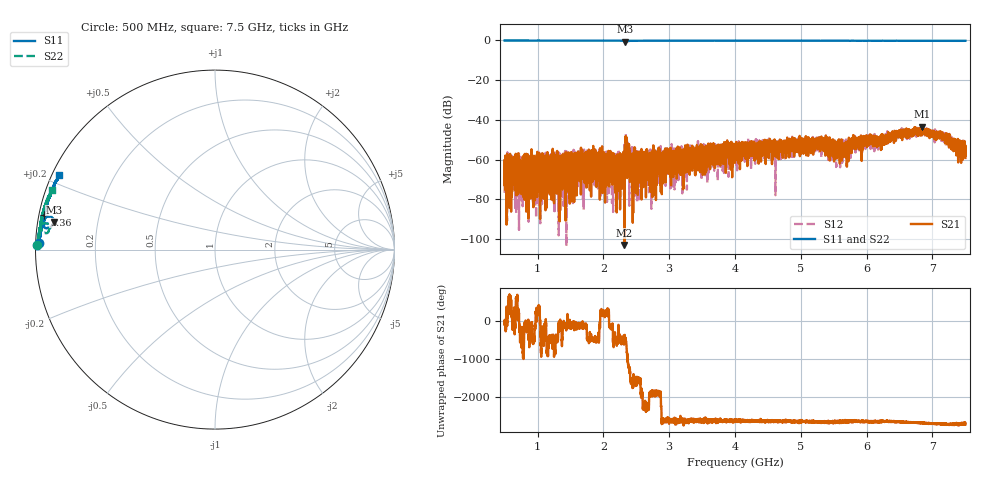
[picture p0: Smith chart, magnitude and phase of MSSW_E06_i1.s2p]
!Keysight Technologies,M9374A,MY55442783,A.12.55.05
!Date: Thursday, May 20, 2021 14:11:18
!Correction: S11(Full 2 Port(1,2))
!S21(Full 2 Port(1,2))
!S12(Full 2 Port(1,2))
!S22(Full 2 Port(1,2))
!S2P File: Measurements: S11, S21, S12, S22:
# Hz S  RI  R 50
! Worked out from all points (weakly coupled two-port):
!   7001 points, 500 MHz to 7.5 GHz, reference 50 ohm
!   highest |S21| = -43.42 dB at 6.837 GHz (marker M1); lowest = -103.0 dB at 2.319 GHz (marker M2)
!   lowest |S11| = -0.8 dB at 2.336 GHz (marker M3), VSWR 21.25, Z = 2.37 + j4.24 ohm
!   |S11| at or under -10 dB: nowhere
!   |S22| runs from -0.7 to -0.1 dB; largest |S21 - S12| = 0.007
!   S11 on the Smith chart (normalised r, x): 500 MHz: 0.01, +0.02; 3.36 GHz: 0.02, +0.10; 7.5 GHz: 0.02, +0.23
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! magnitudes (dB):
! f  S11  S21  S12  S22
! 500 MHz  -0.2  -60.4  -76.8  -0.1
! 574 MHz  -0.2  -67.4  -59.7  -0.1
! 860 MHz  -0.2  -89.6  -60.6  -0.1
! 1.124 GHz  -0.2  -61.4  -63.8  -0.1
! 1.667 GHz  -0.2  -59.7  -61.0  -0.1
! 1.763 GHz  -0.2  -56.9  -60.3  -0.1
! 2.211 GHz  -0.2  -59.3  -58.5  -0.1
! 2.287 GHz  -0.3  -59.2  -59.8  -0.2
! 2.319 GHz  -0.4  -103.0  -69.7  -0.3
! 2.336 GHz  -0.8  -53.7  -50.7  -0.7
! 2.361 GHz  -0.6  -69.3  -52.2  -0.5
! 2.437 GHz  -0.3  -60.0  -56.7  -0.2
! 2.506 GHz  -0.3  -69.0  -77.3  -0.2
! 2.834 GHz  -0.3  -59.7  -61.5  -0.2
! 3.36 GHz  -0.3  -58.7  -59.3  -0.2
! 4 GHz  -0.3  -54.8  -58.2  -0.2
! 5.167 GHz  -0.3  -55.5  -52.5  -0.2
! 5.628 GHz  -0.3  -55.4  -52.1  -0.2
! 6.334 GHz  -0.3  -46.7  -49.1  -0.3
! 6.837 GHz  -0.3  -43.4  -45.2  -0.3
! 7.147 GHz  -0.3  -46.4  -47.7  -0.3
! 7.5 GHz  -0.3  -59.2  -53.5  -0.3
